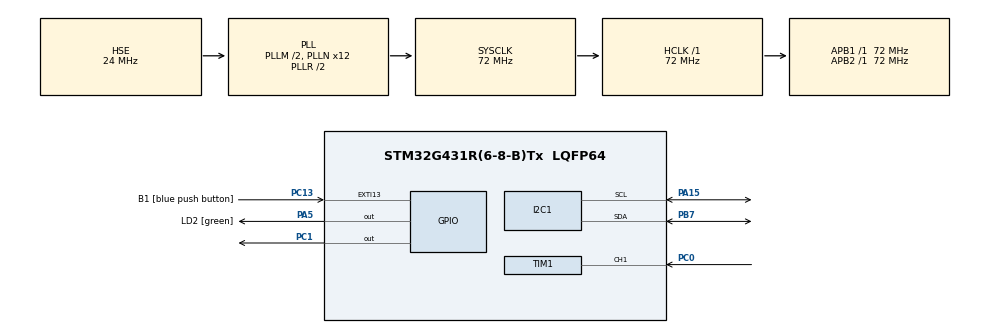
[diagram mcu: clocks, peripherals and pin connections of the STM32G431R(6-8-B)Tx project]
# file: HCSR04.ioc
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I2C1.Timing=0x10808DD3
Mcu.Family=STM32G4
Mcu.Name=STM32G431R(6-8-B)Tx
Mcu.Package=LQFP64
NVIC.PriorityGroup=NVIC_PRIORITYGROUP_4
NVIC.TIM1_CC_IRQn=true\:0\:0\:false\:false\:true\:true\:true\:true
PA13.GPIO_Label=T_SWDIO
PA13.Mode=Serial_Wire
PA13.Signal=SYS_JTMS-SWDIO
PA14.GPIO_Label=T_SWCLK
PA14.Mode=Serial_Wire
PA14.Signal=SYS_JTCK-SWCLK
PA15.Mode=I2C
PA15.Signal=I2C1_SCL
PA2.GPIO_Label=LPUART1_TX [STLINKV3E_VCP_RX]
PA2.Signal=LPUART1_TX
PA3.GPIO_Label=LPUART1_RX [STLINKV3E_VCP_TX]
PA3.Signal=LPUART1_RX
PA5.GPIO_Label=LD2 [green]
PA5.Signal=GPIO_Output
PB3.GPIO_Label=T_SWO
PB3.Signal=SYS_JTDO-SWO
PB7.Mode=I2C
PB7.Signal=I2C1_SDA
PC0.Signal=S_TIM1_CH1
PC1.Signal=GPIO_Output
PC13.GPIO_Label=B1 [blue push button]
PC13.Signal=GPXTI13
PC14-OSC32_IN.Signal=RCC_OSC32_IN
PC15-OSC32_OUT.Signal=RCC_OSC32_OUT
PF0-OSC_IN.Mode=HSE-External-Oscillator
PF0-OSC_IN.Signal=RCC_OSC_IN
PF1-OSC_OUT.Mode=HSE-External-Oscillator
PF1-OSC_OUT.Signal=RCC_OSC_OUT
ProjectManager.HeapSize=0x200
ProjectManager.StackSize=0x400
ProjectManager.TargetToolchain=STM32CubeIDE
RCC.ADC12Freq_Value=72000000
RCC.AHBFreq_Value=72000000
RCC.APB1Freq_Value=72000000
RCC.APB1TimFreq_Value=72000000
RCC.APB2Freq_Value=72000000
RCC.APB2TimFreq_Value=72000000
RCC.CortexFreq_Value=72000000
RCC.EXTERNAL_CLOCK_VALUE=12288000
RCC.HCLKFreq_Value=72000000
RCC.HSE_VALUE=24000000
RCC.HSI48_VALUE=48000000
RCC.HSI_VALUE=16000000
RCC.LSE_VALUE=32768
RCC.PLLM=RCC_PLLM_DIV2
RCC.PLLN=12
RCC.PLLSourceVirtual=RCC_PLLSOURCE_HSE
RCC.RTCClockSelection=RCC_RTCCLKSOURCE_LSE
RCC.SYSCLKFreq_VALUE=72000000
RCC.SYSCLKSource=RCC_SYSCLKSOURCE_PLLCLK
RCC.USBFreq_Value=72000000
RCC.VCOOutputFreq_Value=144000000
SH.S_TIM1_CH1.0=TIM1_CH1,Input_Capture1_from_TI1
TIM1.Channel-Input_Capture1_from_TI1=TIM_CHANNEL_1
TIM1.PeriodNoDither=0xffff-1
TIM1.Prescaler=72-1
TIM2.Channel-Output\ Compare1\ No\ Output=TIM_CHANNEL_1
TIM2.PeriodNoDither=20000-1
TIM2.Prescaler=72-1
TIM2.PulseNoDither_1=1500
VP_SYS_VS_DBSignals.Mode=DisableDeadBatterySignals
VP_TIM1_VS_ClockSourceINT.Mode=Internal
VP_TIM2_VS_no_output1.Mode=Output Compare1 No Output
board=NUCLEO-G431RB

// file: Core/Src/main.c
/* USER CODE BEGIN Header */
/**
  ******************************************************************************
  * @file           : main.c
  * @brief          : Main program body
  ******************************************************************************
  * @attention
  *
  * Copyright (c) 2023 STMicroelectronics.
  * All rights reserved.
  *
  * This software is licensed under terms that can be found in the LICENSE file
  * in the root directory of this software component.
  * If no LICENSE file comes with this software, it is provided AS-IS.
  *
  ******************************************************************************
  */
/* USER CODE END Header */
#include "main.h"

/* USER CODE BEGIN Includes */
#include <stdio.h>
#include "i2c-lcd.h"
#include "hc-sr04.h"
/* USER CODE END Includes */

I2C_HandleTypeDef hi2c1;

TIM_HandleTypeDef htim1;
TIM_HandleTypeDef htim2;

void SystemClock_Config(void);
static void MX_GPIO_Init(void);
static void MX_TIM1_Init(void);
static void MX_I2C1_Init(void);
static void MX_TIM2_Init(void);
/* USER CODE BEGIN PFP */

extern uint32_t Distance;

/* USER CODE END PFP */

/* USER CODE BEGIN 0 */

  //HCSR04 Display LCD
  void Display_LCD(void)
  {
	 	  lcd_clear();
	 	  HCSR04_Read();
	 	  lcd_send_string("Distance= ");
	 	  int d = Distance / 10;
	 	  if (d > 10)
	 	  d=d/10;
	 	  lcd_send_data((Distance / 100) + 48); // Singularity
	 	  lcd_send_data(d + 48); // Dozens
	 	  lcd_send_data((Distance % 10) + 48); // Hundreds
	 	  lcd_send_string(" cm");
	 	  HAL_Delay(200);
  }

/* USER CODE END 0 */

int main(void)
{

  /* MCU Configuration--------------------------------------------------------*/

  /* Reset of all peripherals, Initializes the Flash interface and the Systick. */
  HAL_Init();

  /* Configure the system clock */
  SystemClock_Config();

  /* Initialize all configured peripherals */
  MX_GPIO_Init();
  MX_TIM1_Init();
  MX_I2C1_Init();
  MX_TIM2_Init();
  /* USER CODE BEGIN 2 */
  //LCD
  lcd_init();
  //HCSR04
  HAL_TIM_IC_Start_IT(&htim1, TIM_CHANNEL_1);

  /* USER CODE END 2 */

  /* Infinite loop */
  while (1)
  {

    /* USER CODE BEGIN 3 */
    // HCSR04 Display LCD
	  Display_LCD();

  /* USER CODE END 3 */
  }
}

void SystemClock_Config(void)
{
  RCC_OscInitTypeDef RCC_OscInitStruct = {0};
  RCC_ClkInitTypeDef RCC_ClkInitStruct = {0};

  /** Configure the main internal regulator output voltage
  */
  HAL_PWREx_ControlVoltageScaling(PWR_REGULATOR_VOLTAGE_SCALE1);

  /** Initializes the RCC Oscillators according to the specified parameters
  * in the RCC_OscInitTypeDef structure.
  */
  RCC_OscInitStruct.OscillatorType = RCC_OSCILLATORTYPE_HSE;
  RCC_OscInitStruct.HSEState = RCC_HSE_ON;
  RCC_OscInitStruct.PLL.PLLState = RCC_PLL_ON;
  RCC_OscInitStruct.PLL.PLLSource = RCC_PLLSOURCE_HSE;
  RCC_OscInitStruct.PLL.PLLM = RCC_PLLM_DIV2;
  RCC_OscInitStruct.PLL.PLLN = 12;
  RCC_OscInitStruct.PLL.PLLP = RCC_PLLP_DIV2;
  RCC_OscInitStruct.PLL.PLLQ = RCC_PLLQ_DIV2;
  RCC_OscInitStruct.PLL.PLLR = RCC_PLLR_DIV2;
  if (HAL_RCC_OscConfig(&RCC_OscInitStruct) != HAL_OK)
  {
    Error_Handler();
  }

  /** Initializes the CPU, AHB and APB buses clocks
  */
  RCC_ClkInitStruct.ClockType = RCC_CLOCKTYPE_HCLK|RCC_CLOCKTYPE_SYSCLK
                              |RCC_CLOCKTYPE_PCLK1|RCC_CLOCKTYPE_PCLK2;
  RCC_ClkInitStruct.SYSCLKSource = RCC_SYSCLKSOURCE_PLLCLK;
  RCC_ClkInitStruct.AHBCLKDivider = RCC_SYSCLK_DIV1;
  RCC_ClkInitStruct.APB1CLKDivider = RCC_HCLK_DIV1;
  RCC_ClkInitStruct.APB2CLKDivider = RCC_HCLK_DIV1;

  if (HAL_RCC_ClockConfig(&RCC_ClkInitStruct, FLASH_LATENCY_2) != HAL_OK)
  {
    Error_Handler();
  }
}

static void MX_I2C1_Init(void)
{

  hi2c1.Instance = I2C1;
  hi2c1.Init.Timing = 0x10808DD3;
  hi2c1.Init.OwnAddress1 = 0;
  hi2c1.Init.AddressingMode = I2C_ADDRESSINGMODE_7BIT;
  hi2c1.Init.DualAddressMode = I2C_DUALADDRESS_DISABLE;
  hi2c1.Init.OwnAddress2 = 0;
  hi2c1.Init.OwnAddress2Masks = I2C_OA2_NOMASK;
  hi2c1.Init.GeneralCallMode = I2C_GENERALCALL_DISABLE;
  hi2c1.Init.NoStretchMode = I2C_NOSTRETCH_DISABLE;
  if (HAL_I2C_Init(&hi2c1) != HAL_OK)
  {
    Error_Handler();
  }

  /** Configure Analogue filter
  */
  if (HAL_I2CEx_ConfigAnalogFilter(&hi2c1, I2C_ANALOGFILTER_ENABLE) != HAL_OK)
  {
    Error_Handler();
  }

  /** Configure Digital filter
  */
  if (HAL_I2CEx_ConfigDigitalFilter(&hi2c1, 0) != HAL_OK)
  {
    Error_Handler();
  }

}

static void MX_TIM1_Init(void)
{

  TIM_ClockConfigTypeDef sClockSourceConfig = {0};
  TIM_MasterConfigTypeDef sMasterConfig = {0};
  TIM_IC_InitTypeDef sConfigIC = {0};

  htim1.Instance = TIM1;
  htim1.Init.Prescaler = 72-1;
  htim1.Init.CounterMode = TIM_COUNTERMODE_UP;
  htim1.Init.Period = 65534;
  htim1.Init.ClockDivision = TIM_CLOCKDIVISION_DIV1;
  htim1.Init.RepetitionCounter = 0;
  htim1.Init.AutoReloadPreload = TIM_AUTORELOAD_PRELOAD_DISABLE;
  if (HAL_TIM_Base_Init(&htim1) != HAL_OK)
  {
    Error_Handler();
  }
  sClockSourceConfig.ClockSource = TIM_CLOCKSOURCE_INTERNAL;
  if (HAL_TIM_ConfigClockSource(&htim1, &sClockSourceConfig) != HAL_OK)
  {
    Error_Handler();
  }
  if (HAL_TIM_IC_Init(&htim1) != HAL_OK)
  {
    Error_Handler();
  }
  sMasterConfig.MasterOutputTrigger = TIM_TRGO_RESET;
  sMasterConfig.MasterOutputTrigger2 = TIM_TRGO2_RESET;
  sMasterConfig.MasterSlaveMode = TIM_MASTERSLAVEMODE_DISABLE;
  if (HAL_TIMEx_MasterConfigSynchronization(&htim1, &sMasterConfig) != HAL_OK)
  {
    Error_Handler();
  }
  sConfigIC.ICPolarity = TIM_INPUTCHANNELPOLARITY_RISING;
  sConfigIC.ICSelection = TIM_ICSELECTION_DIRECTTI;
  sConfigIC.ICPrescaler = TIM_ICPSC_DIV1;
  sConfigIC.ICFilter = 0;
  if (HAL_TIM_IC_ConfigChannel(&htim1, &sConfigIC, TIM_CHANNEL_1) != HAL_OK)
  {
    Error_Handler();
  }

}

static void MX_TIM2_Init(void)
{

  TIM_MasterConfigTypeDef sMasterConfig = {0};
  TIM_OC_InitTypeDef sConfigOC = {0};

  htim2.Instance = TIM2;
  htim2.Init.Prescaler = 72-1;
  htim2.Init.CounterMode = TIM_COUNTERMODE_UP;
  htim2.Init.Period = 19999;
  htim2.Init.ClockDivision = TIM_CLOCKDIVISION_DIV1;
  htim2.Init.AutoReloadPreload = TIM_AUTORELOAD_PRELOAD_DISABLE;
  if (HAL_TIM_OC_Init(&htim2) != HAL_OK)
  {
    Error_Handler();
  }
  sMasterConfig.MasterOutputTrigger = TIM_TRGO_RESET;
  sMasterConfig.MasterSlaveMode = TIM_MASTERSLAVEMODE_DISABLE;
  if (HAL_TIMEx_MasterConfigSynchronization(&htim2, &sMasterConfig) != HAL_OK)
  {
    Error_Handler();
  }
  sConfigOC.OCMode = TIM_OCMODE_TIMING;
  sConfigOC.Pulse = 1500;
  sConfigOC.OCPolarity = TIM_OCPOLARITY_HIGH;
  sConfigOC.OCFastMode = TIM_OCFAST_DISABLE;
  if (HAL_TIM_OC_ConfigChannel(&htim2, &sConfigOC, TIM_CHANNEL_1) != HAL_OK)
  {
    Error_Handler();
  }

}

static void MX_GPIO_Init(void)
{
  GPIO_InitTypeDef GPIO_InitStruct = {0};

  /* GPIO Ports Clock Enable */
  __HAL_RCC_GPIOC_CLK_ENABLE();
  __HAL_RCC_GPIOF_CLK_ENABLE();
  __HAL_RCC_GPIOA_CLK_ENABLE();
  __HAL_RCC_GPIOB_CLK_ENABLE();

  /*Configure GPIO pin Output Level */
  HAL_GPIO_WritePin(GPIOC, GPIO_PIN_1, GPIO_PIN_RESET);

  /*Configure GPIO pin Output Level */
  HAL_GPIO_WritePin(LD2_GPIO_Port, LD2_Pin, GPIO_PIN_RESET);

  /*Configure GPIO pin : B1_Pin */
  GPIO_InitStruct.Pin = B1_Pin;
  GPIO_InitStruct.Mode = GPIO_MODE_IT_RISING;
  GPIO_InitStruct.Pull = GPIO_NOPULL;
  HAL_GPIO_Init(B1_GPIO_Port, &GPIO_InitStruct);

  /*Configure GPIO pin : PC1 */
  GPIO_InitStruct.Pin = GPIO_PIN_1;
  GPIO_InitStruct.Mode = GPIO_MODE_OUTPUT_PP;
  GPIO_InitStruct.Pull = GPIO_NOPULL;
  GPIO_InitStruct.Speed = GPIO_SPEED_FREQ_LOW;
  HAL_GPIO_Init(GPIOC, &GPIO_InitStruct);

  /*Configure GPIO pins : LPUART1_TX_Pin LPUART1_RX_Pin */
  GPIO_InitStruct.Pin = LPUART1_TX_Pin|LPUART1_RX_Pin;
  GPIO_InitStruct.Mode = GPIO_MODE_AF_PP;
  GPIO_InitStruct.Pull = GPIO_NOPULL;
  GPIO_InitStruct.Speed = GPIO_SPEED_FREQ_LOW;
  GPIO_InitStruct.Alternate = GPIO_AF12_LPUART1;
  HAL_GPIO_Init(GPIOA, &GPIO_InitStruct);

  /*Configure GPIO pin : LD2_Pin */
  GPIO_InitStruct.Pin = LD2_Pin;
  GPIO_InitStruct.Mode = GPIO_MODE_OUTPUT_PP;
  GPIO_InitStruct.Pull = GPIO_NOPULL;
  GPIO_InitStruct.Speed = GPIO_SPEED_FREQ_LOW;
  HAL_GPIO_Init(LD2_GPIO_Port, &GPIO_InitStruct);

}

void Error_Handler(void)
{
  __disable_irq();
  while (1)
  {
  }
}
